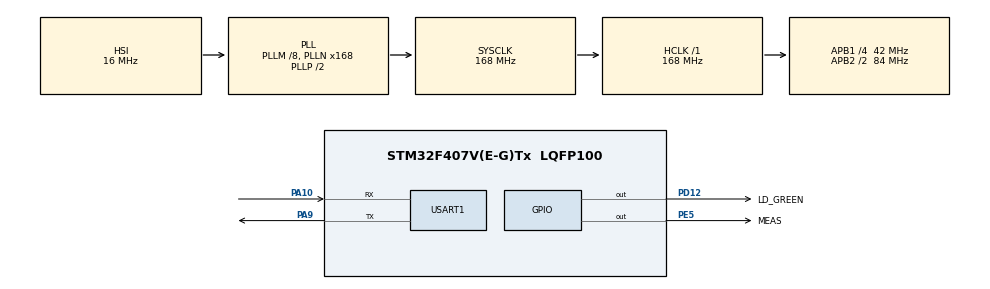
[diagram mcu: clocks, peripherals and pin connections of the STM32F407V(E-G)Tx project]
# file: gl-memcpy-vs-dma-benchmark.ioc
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Dma.MEMTOMEM.0.Direction=DMA_MEMORY_TO_MEMORY
Dma.MEMTOMEM.0.FIFOMode=DMA_FIFOMODE_ENABLE
Dma.MEMTOMEM.0.FIFOThreshold=DMA_FIFO_THRESHOLD_FULL
Dma.MEMTOMEM.0.Instance=DMA2_Stream0
Dma.MEMTOMEM.0.MemBurst=DMA_MBURST_SINGLE
Dma.MEMTOMEM.0.MemDataAlignment=DMA_MDATAALIGN_BYTE
Dma.MEMTOMEM.0.MemInc=DMA_MINC_ENABLE
Dma.MEMTOMEM.0.Mode=DMA_NORMAL
Dma.MEMTOMEM.0.PeriphBurst=DMA_PBURST_SINGLE
Dma.MEMTOMEM.0.PeriphDataAlignment=DMA_PDATAALIGN_BYTE
Dma.MEMTOMEM.0.PeriphInc=DMA_PINC_ENABLE
Dma.MEMTOMEM.0.Priority=DMA_PRIORITY_LOW
Dma.Request0=MEMTOMEM
Mcu.Family=STM32F4
Mcu.Name=STM32F407V(E-G)Tx
Mcu.Package=LQFP100
NVIC.PriorityGroup=NVIC_PRIORITYGROUP_4
PA10.Mode=Asynchronous
PA10.Signal=USART1_RX
PA9.Mode=Asynchronous
PA9.Signal=USART1_TX
PD12.GPIO_Label=LD_GREEN
PD12.Signal=GPIO_Output
PE5.GPIO_Label=MEAS
PE5.Signal=GPIO_Output
ProjectManager.HeapSize=0x200
ProjectManager.StackSize=0x400
ProjectManager.TargetToolchain=STM32CubeIDE
RCC.48MHZClocksFreq_Value=84000000
RCC.AHBFreq_Value=168000000
RCC.APB1CLKDivider=RCC_HCLK_DIV4
RCC.APB1Freq_Value=42000000
RCC.APB1TimFreq_Value=84000000
RCC.APB2CLKDivider=RCC_HCLK_DIV2
RCC.APB2Freq_Value=84000000
RCC.APB2TimFreq_Value=168000000
RCC.CortexFreq_Value=168000000
RCC.HCLKFreq_Value=168000000
RCC.HSE_VALUE=25000000
RCC.HSI_VALUE=16000000
RCC.LSE_VALUE=32768
RCC.PLLM=8
RCC.PLLN=168
RCC.SYSCLKFreq_VALUE=168000000
RCC.SYSCLKSource=RCC_SYSCLKSOURCE_PLLCLK
RCC.VCOOutputFreq_Value=336000000
USART1.VirtualMode=VM_ASYNC
board=custom

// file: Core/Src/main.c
/* USER CODE BEGIN Header */
/**
  ******************************************************************************
  * @file           : main.c
  * @brief          : Main program body
  ******************************************************************************
  * @attention
  *
  * Copyright (c) 2026 STMicroelectronics.
  * All rights reserved.
  *
  * This software is licensed under terms that can be found in the LICENSE file
  * in the root directory of this software component.
  * If no LICENSE file comes with this software, it is provided AS-IS.
  *
  ******************************************************************************
  */
/* USER CODE END Header */
#include "main.h"

/* USER CODE BEGIN Includes */
#include <string.h>
#include <stdio.h>
/* USER CODE END Includes */

UART_HandleTypeDef huart1;

DMA_HandleTypeDef hdma_memtomem_dma2_stream0;
/* USER CODE BEGIN PV */
#define MAX_BUF_SIZE 16384
#define NUM_TESTS    13
#define REPEATS        10
#define REPEAT_GAP_MS  1
#define METHOD_GAP_MS  5
#define SIZE_GAP_MS    20

// 4-byte aligned buffers
__attribute__((aligned(4))) uint8_t src_buf[MAX_BUF_SIZE];
__attribute__((aligned(4))) uint8_t dst_buf[MAX_BUF_SIZE];

uint16_t test_sizes[NUM_TESTS] = {4, 8, 16, 32, 64, 128, 256, 512, 1024, 2048, 4096, 8192, 16384};
/* USER CODE END PV */

void SystemClock_Config(void);
static void MX_DMA_Init(void);
static void MX_GPIO_Init(void);
static void MX_USART1_UART_Init(void);
/* USER CODE BEGIN PFP */
void Init_DWT(void);
/* USER CODE END PFP */

int main(void)
{

  /* MCU Configuration--------------------------------------------------------*/

  /* Reset of all peripherals, Initializes the Flash interface and the Systick. */
  HAL_Init();

  /* Configure the system clock */
  SystemClock_Config();

  /* Initialize all configured peripherals */
  MX_DMA_Init();
  MX_GPIO_Init();
  MX_USART1_UART_Init();
  /* USER CODE BEGIN 2 */

  // Fill array with data
  for(int i = 0; i < MAX_BUF_SIZE; i++) {
    src_buf[i] = (uint8_t)(i & 0xFF);
  }

  // Initialize hardware cycle counter (DWT)
  Init_DWT();

  // Allow voltage and UART to stabilize
  HAL_Delay(500);

  printf("\r\n--- START BENCHMARK (Milestone 1, repeated measurements 10 times) ---\r\n");
  printf("Size,Memcpy_Min,Memcpy_Avg,DMA_HAL_Min,DMA_HAL_Avg\r\n");

  for (int s = 0; s < NUM_TESTS; s++) {
    uint16_t size = test_sizes[s];

    uint32_t memcpy_min = 0xFFFFFFFFU;
    uint32_t dma_min = 0xFFFFFFFFU;

    uint64_t memcpy_sum = 0;
    uint64_t dma_sum = 0;

    // --- METHOD 1: Memcpy ---
    for (int r = 0; r < REPEATS; r++) {
      uint32_t start, stop;
      uint32_t ticks;

      memset(dst_buf, 0, size);
      HAL_Delay(REPEAT_GAP_MS);

      HAL_GPIO_WritePin(MEAS_GPIO_Port, MEAS_Pin, GPIO_PIN_SET);
      start = DWT->CYCCNT;

      memcpy(dst_buf, src_buf, size);

      stop = DWT->CYCCNT;
      HAL_GPIO_WritePin(MEAS_GPIO_Port, MEAS_Pin, GPIO_PIN_RESET);

      // Data integrity check
      if ((dst_buf[0] != src_buf[0]) ||
          (dst_buf[size / 2] != src_buf[size / 2]) ||
          (dst_buf[size - 1] != src_buf[size - 1])) {
        Error_Handler();
      }

      ticks = stop - start;
      memcpy_sum += ticks;

      if (ticks < memcpy_min) {
        memcpy_min = ticks;
      }
    }

    HAL_Delay(METHOD_GAP_MS);

    // --- METHOD 2: DMA HAL ---
    for (int r = 0; r < REPEATS; r++) {
      uint32_t start, stop;
      uint32_t ticks;

      memset(dst_buf, 0, size);
      HAL_Delay(REPEAT_GAP_MS);

      HAL_GPIO_WritePin(MEAS_GPIO_Port, MEAS_Pin, GPIO_PIN_SET);
      start = DWT->CYCCNT;

      if (HAL_DMA_Start(&hdma_memtomem_dma2_stream0,
                        (uint32_t)src_buf,
                        (uint32_t)dst_buf,
                        size) != HAL_OK) {
        Error_Handler();
      }

      if (HAL_DMA_PollForTransfer(&hdma_memtomem_dma2_stream0,
                                  HAL_DMA_FULL_TRANSFER,
                                  HAL_MAX_DELAY) != HAL_OK) {
        Error_Handler();
      }

      stop = DWT->CYCCNT;
      HAL_GPIO_WritePin(MEAS_GPIO_Port, MEAS_Pin, GPIO_PIN_RESET);

      if ((dst_buf[0] != src_buf[0]) ||
          (dst_buf[size / 2] != src_buf[size / 2]) ||
          (dst_buf[size - 1] != src_buf[size - 1])) {
        Error_Handler();
      }

      ticks = stop - start;
      dma_sum += ticks;

      if (ticks < dma_min) {
        dma_min = ticks;
      }
    }

    uint32_t memcpy_avg = (uint32_t)(memcpy_sum / REPEATS);
    uint32_t dma_avg = (uint32_t)(dma_sum / REPEATS);

    printf("%u,%lu,%lu,%lu,%lu\r\n",
           (unsigned int)size,
           (unsigned long)memcpy_min,
           (unsigned long)memcpy_avg,
           (unsigned long)dma_min,
           (unsigned long)dma_avg);

    HAL_Delay(SIZE_GAP_MS);
  }

  printf("--- BENCHMARK END ---\r\n");

  /* USER CODE END 2 */

  /* Infinite loop */
  while (1)
  {

  }
}

void SystemClock_Config(void)
{
  RCC_OscInitTypeDef RCC_OscInitStruct = {0};
  RCC_ClkInitTypeDef RCC_ClkInitStruct = {0};

  /** Configure the main internal regulator output voltage
  */
  __HAL_RCC_PWR_CLK_ENABLE();
  __HAL_PWR_VOLTAGESCALING_CONFIG(PWR_REGULATOR_VOLTAGE_SCALE1);

  /** Initializes the RCC Oscillators according to the specified parameters
  * in the RCC_OscInitTypeDef structure.
  */
  RCC_OscInitStruct.OscillatorType = RCC_OSCILLATORTYPE_HSI;
  RCC_OscInitStruct.HSIState = RCC_HSI_ON;
  RCC_OscInitStruct.HSICalibrationValue = RCC_HSICALIBRATION_DEFAULT;
  RCC_OscInitStruct.PLL.PLLState = RCC_PLL_ON;
  RCC_OscInitStruct.PLL.PLLSource = RCC_PLLSOURCE_HSI;
  RCC_OscInitStruct.PLL.PLLM = 8;
  RCC_OscInitStruct.PLL.PLLN = 168;
  RCC_OscInitStruct.PLL.PLLP = RCC_PLLP_DIV2;
  RCC_OscInitStruct.PLL.PLLQ = 4;
  if (HAL_RCC_OscConfig(&RCC_OscInitStruct) != HAL_OK)
  {
    Error_Handler();
  }

  /** Initializes the CPU, AHB and APB buses clocks
  */
  RCC_ClkInitStruct.ClockType = RCC_CLOCKTYPE_HCLK|RCC_CLOCKTYPE_SYSCLK
                              |RCC_CLOCKTYPE_PCLK1|RCC_CLOCKTYPE_PCLK2;
  RCC_ClkInitStruct.SYSCLKSource = RCC_SYSCLKSOURCE_PLLCLK;
  RCC_ClkInitStruct.AHBCLKDivider = RCC_SYSCLK_DIV1;
  RCC_ClkInitStruct.APB1CLKDivider = RCC_HCLK_DIV4;
  RCC_ClkInitStruct.APB2CLKDivider = RCC_HCLK_DIV2;

  if (HAL_RCC_ClockConfig(&RCC_ClkInitStruct, FLASH_LATENCY_5) != HAL_OK)
  {
    Error_Handler();
  }
}

static void MX_USART1_UART_Init(void)
{

  huart1.Instance = USART1;
  huart1.Init.BaudRate = 115200;
  huart1.Init.WordLength = UART_WORDLENGTH_8B;
  huart1.Init.StopBits = UART_STOPBITS_1;
  huart1.Init.Parity = UART_PARITY_NONE;
  huart1.Init.Mode = UART_MODE_TX_RX;
  huart1.Init.HwFlowCtl = UART_HWCONTROL_NONE;
  huart1.Init.OverSampling = UART_OVERSAMPLING_16;
  if (HAL_UART_Init(&huart1) != HAL_OK)
  {
    Error_Handler();
  }

}

static void MX_DMA_Init(void)
{

  /* DMA controller clock enable */
  __HAL_RCC_DMA2_CLK_ENABLE();

  /* Configure DMA request hdma_memtomem_dma2_stream0 on DMA2_Stream0 */
  hdma_memtomem_dma2_stream0.Instance = DMA2_Stream0;
  hdma_memtomem_dma2_stream0.Init.Channel = DMA_CHANNEL_0;
  hdma_memtomem_dma2_stream0.Init.Direction = DMA_MEMORY_TO_MEMORY;
  hdma_memtomem_dma2_stream0.Init.PeriphInc = DMA_PINC_ENABLE;
  hdma_memtomem_dma2_stream0.Init.MemInc = DMA_MINC_ENABLE;
  hdma_memtomem_dma2_stream0.Init.PeriphDataAlignment = DMA_PDATAALIGN_BYTE;
  hdma_memtomem_dma2_stream0.Init.MemDataAlignment = DMA_MDATAALIGN_BYTE;
  hdma_memtomem_dma2_stream0.Init.Mode = DMA_NORMAL;
  hdma_memtomem_dma2_stream0.Init.Priority = DMA_PRIORITY_LOW;
  hdma_memtomem_dma2_stream0.Init.FIFOMode = DMA_FIFOMODE_ENABLE;
  hdma_memtomem_dma2_stream0.Init.FIFOThreshold = DMA_FIFO_THRESHOLD_FULL;
  hdma_memtomem_dma2_stream0.Init.MemBurst = DMA_MBURST_SINGLE;
  hdma_memtomem_dma2_stream0.Init.PeriphBurst = DMA_PBURST_SINGLE;
  if (HAL_DMA_Init(&hdma_memtomem_dma2_stream0) != HAL_OK)
  {
    Error_Handler( );
  }

}

static void MX_GPIO_Init(void)
{
  GPIO_InitTypeDef GPIO_InitStruct = {0};

  /* GPIO Ports Clock Enable */
  __HAL_RCC_GPIOE_CLK_ENABLE();
  __HAL_RCC_GPIOD_CLK_ENABLE();
  __HAL_RCC_GPIOA_CLK_ENABLE();

  /*Configure GPIO pin Output Level */
  HAL_GPIO_WritePin(MEAS_GPIO_Port, MEAS_Pin, GPIO_PIN_RESET);

  /*Configure GPIO pin Output Level */
  HAL_GPIO_WritePin(LD_GREEN_GPIO_Port, LD_GREEN_Pin, GPIO_PIN_RESET);

  /*Configure GPIO pin : MEAS_Pin */
  GPIO_InitStruct.Pin = MEAS_Pin;
  GPIO_InitStruct.Mode = GPIO_MODE_OUTPUT_PP;
  GPIO_InitStruct.Pull = GPIO_NOPULL;
  GPIO_InitStruct.Speed = GPIO_SPEED_FREQ_LOW;
  HAL_GPIO_Init(MEAS_GPIO_Port, &GPIO_InitStruct);

  /*Configure GPIO pin : LD_GREEN_Pin */
  GPIO_InitStruct.Pin = LD_GREEN_Pin;
  GPIO_InitStruct.Mode = GPIO_MODE_OUTPUT_PP;
  GPIO_InitStruct.Pull = GPIO_NOPULL;
  GPIO_InitStruct.Speed = GPIO_SPEED_FREQ_LOW;
  HAL_GPIO_Init(LD_GREEN_GPIO_Port, &GPIO_InitStruct);

}

/* USER CODE BEGIN 4 */

/**
 * @brief  Initialize ARM Cortex-M Data Watchpoint and Trace (DWT) unit
 * to utilize the high-resolution hardware cycle counter.
 */
void Init_DWT(void) {
    /* Enable TRCENA bit in Debug Exception and Monitor Control Register (DEMCR) */
    CoreDebug->DEMCR |= CoreDebug_DEMCR_TRCENA_Msk;

    /* Enable CYCCNTENA bit in DWT Control Register to start cycle counter */
    DWT->CTRL |= DWT_CTRL_CYCCNTENA_Msk;

    /* Clear CPU cycle counter register */
    DWT->CYCCNT = 0;
}

/**
 * @brief  Low-level system write function to retarget printf to USART1.
 * Overriding _write avoids multiple definition conflicts with BSP drivers.
 */
int _write(int file, char *ptr, int len) {
    /* Transmit the string buffer over USART1 via polling mode */
    HAL_UART_Transmit(&huart1, (uint8_t *)ptr, len, HAL_MAX_DELAY);
    return len;
}

/* USER CODE END 4 */

void Error_Handler(void)
{
  __disable_irq();
  while (1)
  {
  }
}
